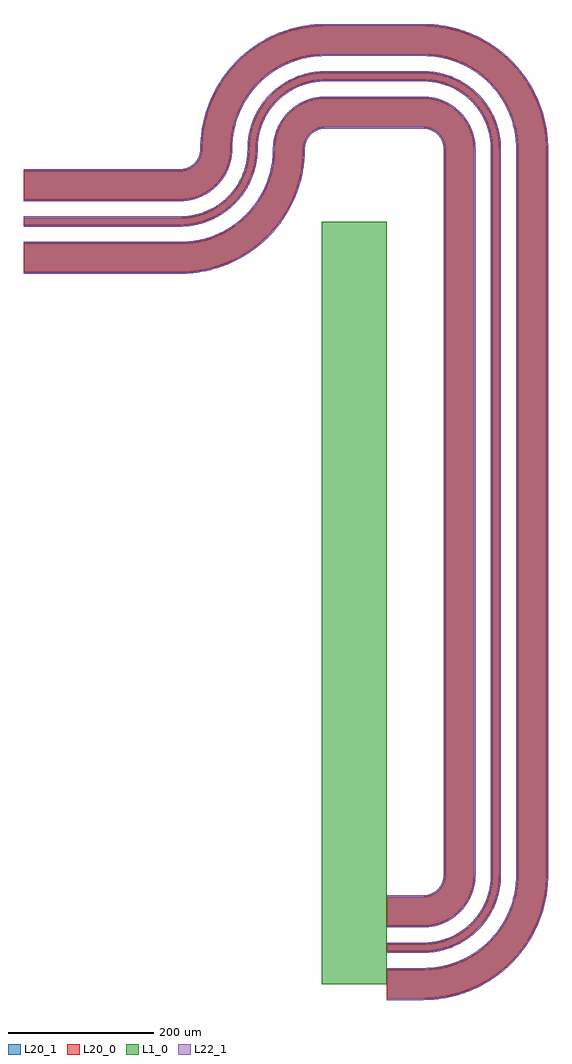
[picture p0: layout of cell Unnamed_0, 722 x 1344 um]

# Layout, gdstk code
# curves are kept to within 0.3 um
from math import pi, radians
import gdstk
lib = gdstk.Library(unit=1e-6, precision=1e-09)
def R(c, l, rs):  # rectangles x0, y0, x1, y1
    for r in rs: c.add(gdstk.rectangle(r[:2], r[2:], *l))
def P(c, l, *ps):  # polygons
    for p in ps: c.add(gdstk.Polygon(p, *l))
L1_0 = (1, 0)
L20_0 = (20, 0)
L20_1 = (20, 1)
L22_1 = (22, 1)

bend_circular_w40_r50_lm = lib.new_cell('bend_circular_W40_R50_LMETAL1_EM1_A90_AS1')
P(bend_circular_w40_r50_lm, L20_0, [(0,-20),(0,20),(5.788,20.564),(11.358,22.233),(16.502,24.946),(21.025,28.6),(25.054,33.498),(27.767,38.642),(29.436,44.212),(30,50),(70,50),(69.728,43.831),(68.685,36.495),(66.873,29.311),(64.789,23.498),(61.625,16.798),(58.459,11.496),(54.062,5.533),(49.932,0.941),(45.414,-3.269),(39.53,-7.77),(33.202,-11.625),(27.642,-14.311),(20.689,-16.873),(14.715,-18.436),(7.399,-19.608)])
P(bend_circular_w40_r50_lm, L20_1, [(0,-20.5),(0,20.5),(5.691,21.054),(11.169,22.696),(16.227,25.364),(20.675,28.957),(24.346,33.341),(27.103,38.351),(28.946,44.309),(29.5,50),(70.5,50),(70.226,43.787),(69.176,36.399),(67.708,30.355),(65.252,23.308),(62.646,17.662),(58.877,11.221),(54.448,5.215),(50.289,0.591),(44.785,-4.448),(39.812,-8.183),(33.439,-12.065),(27.839,-14.771),(20.837,-17.35),(13.601,-19.176),(6.213,-20.226)])
P(bend_circular_w40_r50_lm, L22_1, [(0,19.8),(0,22),(5.402,22.526),(10.601,24.084),(15.402,26.616),(19.624,30.027),(23.108,34.188),(25.725,38.943),(27.474,44.598),(28,50),(30.2,50),(29.633,44.174),(27.952,38.566),(25.221,33.388),(21.542,28.835),(16.612,24.779),(11.434,22.048),(5.826,20.367)],
  [(0,-22),(0,-19.8),(7.378,-19.409),(14.673,-18.24),(21.804,-16.307),(28.69,-13.631),(34.186,-10.855),(39.417,-7.605),(44.34,-3.907),(48.919,0.21),(53.116,4.715),(56.901,9.573),(60.242,14.745),(63.115,20.191),(65.912,27.03),(67.971,34.125),(69.268,41.398),(69.8,50),(72,50),(71.597,42.39),(70.647,36.109),(69.148,29.937),(66.64,22.741),(63.386,15.849),(60.129,10.396),(56.405,5.251),(51.359,-0.46),(45.738,-5.606),(40.659,-9.421),(34.151,-13.386),(28.431,-16.149),(22.491,-18.397),(15.135,-20.391),(7.61,-21.597)])

straight_w40000_l50000_l = lib.new_cell('straight_W40000_L50000_LMETAL1_EM1')
R(straight_w40000_l50000_l, L20_0, [(0,-20,50,20)])
R(straight_w40000_l50000_l, L20_1, [(0,-20.5,50,20.5)])
R(straight_w40000_l50000_l, L22_1, [(0,-22,50,-19.8), (0,19.8,50,22)])

straight_w40000_l1000000 = lib.new_cell('straight_W40000_L1000000_LMETAL1_EM1')
R(straight_w40000_l1000000, L20_0, [(0,-20,1000,20)])
R(straight_w40000_l1000000, L20_1, [(0,-20.5,1000,20.5)])
R(straight_w40000_l1000000, L22_1, [(0,-22,1000,-19.8), (0,19.8,1000,22)])

straight_w40000_l134999_ = lib.new_cell('straight_W40000_L134999_LMETAL1_EM1')
R(straight_w40000_l134999_, L20_0, [(0,-20,134.999,20)])
R(straight_w40000_l134999_, L20_1, [(0,-20.5,134.999,20.5)])
R(straight_w40000_l134999_, L22_1, [(0,-22,134.999,-19.8), (0,19.8,134.999,22)])

bend_circular_w40_r150_l = lib.new_cell('bend_circular_W40_R150_LMETAL1_EM1_A90_AS1')
P(bend_circular_w40_r150_l, L20_0, [(0,-20),(0,20),(11.457,20.506),(20.563,21.637),(31.796,23.948),(42.782,27.241),(53.434,31.489),(61.661,35.554),(69.58,40.188),(78.987,46.748),(89.458,55.675),(100.4,67.418),(109.812,80.42),(116.551,92.417),(122.759,107.218),(126.593,120.434),(129.272,136.259),(130,150),(170,150),(169.048,132.031),(166.806,117.203),(163.267,102.629),(157.345,85.637),(149.661,69.367),(141.972,56.491),(131.293,42.008),(121.264,30.857),(107.992,18.707),(96,9.701),(80.633,0.339),(67.129,-6.185),(50.245,-12.405),(32.797,-16.806),(17.969,-19.048)])
P(bend_circular_w40_r150_l, L20_1, [(0,-20.5),(0,20.5),(11.413,21.004),(20.484,22.13),(31.674,24.433),(42.617,27.713),(53.229,31.945),(61.423,35.994),(71.232,41.851),(78.683,47.145),(90.759,57.625),(100.014,67.736),(108.149,78.768),(116.103,92.638),(121.516,105.231),(126.106,120.547),(128.775,136.312),(129.5,150),(170.5,150),(169.837,134.973),(167.297,117.106),(162.883,99.607),(157.808,85.448),(151.505,71.791),(142.389,56.216),(133.57,44.031),(121.621,30.507),(108.309,18.321),(96.283,9.288),(80.87,-0.101),(64.552,-7.808),(50.393,-12.883),(32.894,-17.297),(15.027,-19.837)])
P(bend_circular_w40_r150_l, L22_1, [(0,19.8),(0,22),(13.529,22.717),(26.907,24.86),(37.831,27.718),(50.545,32.402),(60.712,37.314),(72.283,44.363),(81.311,51.144),(89.707,58.695),(97.405,66.957),(104.345,75.864),(111.597,87.309),(116.687,97.388),(121.595,110.016),(125.14,123.093),(127.283,136.471),(128,150),(130.2,150),(129.471,136.238),(127.754,124.881),(125.043,113.719),(120.508,100.706),(114.622,88.244),(108.734,78.383),(100.555,67.291),(92.874,58.751),(82.709,49.445),(73.525,42.547),(61.756,35.378),(49.294,29.492),(36.281,24.957),(25.119,22.246),(13.762,20.529)],
  [(0,-22),(0,-19.8),(11.978,-19.377),(20.925,-18.506),(29.813,-17.162),(38.618,-15.35),(53.041,-11.303),(67.05,-6.001),(80.538,0.515),(93.399,8.195),(105.534,16.979),(112.426,22.75),(119.003,28.878),(125.246,35.346),(131.138,42.135),(140.134,54.113),(145.013,61.663),(149.485,69.462),(156.001,82.95),(161.303,96.959),(165.35,111.382),(167.162,120.187),(168.506,129.075),(169.377,138.022),(169.8,150),(172,150),(171.331,134.841),(170.288,125.795),(168.769,116.817),(166.776,107.931),(164.316,99.164),(159.196,84.88),(152.838,71.103),(148.448,63.125),(143.642,55.391),(134.745,43.099),(128.899,36.118),(122.691,29.456),(111.59,19.112),(104.506,13.389),(97.13,8.05),(89.481,3.108),(81.582,-1.421),(73.454,-5.527),(65.12,-9.196),(50.836,-14.316),(42.069,-16.776),(33.183,-18.769),(24.205,-20.288),(15.159,-21.331)])

straight_w40000_l215001_ = lib.new_cell('straight_W40000_L215001_LMETAL1_EM1')
R(straight_w40000_l215001_, L20_0, [(0,-20,215.001,20)])
R(straight_w40000_l215001_, L20_1, [(0,-20.5,215.001,20.5)])
R(straight_w40000_l215001_, L22_1, [(0,-22,215.001,-19.8), (0,19.8,215.001,22)])

bend_circular_w10_r100_l = lib.new_cell('bend_circular_W10_R100_LMETAL1_EM1_A90_AS1')
P(bend_circular_w10_r100_l, L20_0, [(0,-5),(0,5),(10.041,5.532),(18.328,6.785),(28.078,9.244),(35.967,12.072),(45.06,16.366),(52.255,20.663),(59.044,25.577),(66.58,32.235),(72.293,38.366),(78.403,46.353),(82.826,53.471),(87.28,62.486),(90.756,71.922),(93.215,81.672),(94.468,89.959),(95,100),(105,100),(104.412,88.902),(103.027,79.743),(100.309,68.966),(97.184,60.247),(93.302,51.836),(87.688,42.244),(81.093,33.299),(74.899,26.412),(66.701,18.907),(59.294,13.344),(49.803,7.563),(39.753,2.816),(31.034,-0.309),(20.257,-3.027),(11.098,-4.412)])
P(bend_circular_w10_r100_l, L20_1, [(0,-5.5),(0,5.5),(9.989,6.029),(18.232,7.275),(26.333,9.243),(35.778,12.535),(44.823,16.806),(51.98,21.08),(60.031,27.017),(66.229,32.591),(72.983,39.969),(77.99,46.635),(83.194,55.177),(86.82,62.684),(90.278,72.07),(92.725,81.768),(93.971,90.011),(94.5,100),(105.5,100),(104.909,88.849),(103.518,79.646),(100.787,68.819),(97.646,60.057),(92.878,49.96),(88.106,41.969),(82.649,34.43),(75.255,26.061),(67.018,18.521),(59.577,12.932),(50.04,7.122),(41.66,3.074),(32.955,-0.221),(22.177,-3.143),(11.151,-4.909)])
P(bend_circular_w10_r100_l, L22_1, [(0,4.8),(0,7),(9.83,7.521),(19.55,9.078),(29.051,11.654),(38.226,15.219),(45.549,18.918),(52.518,23.248),(59.078,28.175),(65.178,33.661),(71.825,40.922),(76.752,47.482),(81.082,54.451),(84.781,61.774),(88.346,70.949),(90.922,80.45),(92.479,90.17),(93,100),(95.2,100),(94.83,91.61),(93.412,81.633),(90.947,71.863),(88.113,63.957),(83.81,54.845),(79.504,47.635),(74.58,40.832),(67.908,33.28),(61.764,27.555),(53.76,21.432),(45.155,16.19),(36.043,11.887),(28.137,9.053),(18.367,6.588),(8.39,5.17)],
  [(0,-7),(0,-4.8),(11.077,-4.213),(20.219,-2.831),(30.974,-0.118),(41.383,3.717),(49.708,7.739),(57.646,12.479),(66.574,19.062),(73.448,25.244),(79.751,32.008),(85.433,39.301),(90.45,47.067),(95.538,56.924),(99.556,67.263),(102.458,77.97),(104.213,88.923),(104.8,100),(107,100),(106.401,88.69),(104.99,79.357),(102.22,68.375),(99.035,59.489),(95.079,50.919),(89.359,41.144),(83.824,33.498),(76.325,25.01),(67.971,17.363),(58.856,10.641),(49.081,4.921),(40.511,0.965),(31.625,-2.22),(20.643,-4.99),(11.31,-6.401)])

straight_w10000_l50000_l = lib.new_cell('straight_W10000_L50000_LMETAL1_EM1')
R(straight_w10000_l50000_l, L20_0, [(0,-5,50,5)])
R(straight_w10000_l50000_l, L20_1, [(0,-5.5,50,5.5)])
R(straight_w10000_l50000_l, L22_1, [(0,-7,50,-4.8), (0,4.8,50,7)])

straight_w10000_l1000000 = lib.new_cell('straight_W10000_L1000000_LMETAL1_EM1')
R(straight_w10000_l1000000, L20_0, [(0,-5,1000,5)])
R(straight_w10000_l1000000, L20_1, [(0,-5.5,1000,5.5)])
R(straight_w10000_l1000000, L22_1, [(0,-7,1000,-4.8), (0,4.8,1000,7)])

straight_w10000_l134999_ = lib.new_cell('straight_W10000_L134999_LMETAL1_EM1')
R(straight_w10000_l134999_, L20_0, [(0,-5,134.999,5)])
R(straight_w10000_l134999_, L20_1, [(0,-5.5,134.999,5.5)])
R(straight_w10000_l134999_, L22_1, [(0,-7,134.999,-4.8), (0,4.8,134.999,7)])

straight_w10000_l215001_ = lib.new_cell('straight_W10000_L215001_LMETAL1_EM1')
R(straight_w10000_l215001_, L20_0, [(0,-5,215.001,5)])
R(straight_w10000_l215001_, L20_1, [(0,-5.5,215.001,5.5)])
R(straight_w10000_l215001_, L22_1, [(0,-7,215.001,-4.8), (0,4.8,215.001,7)])

unnamed_0 = lib.new_cell('Unnamed_0')
R(unnamed_0, L1_0, [(-90,-50,0,1000)])
unnamed_0.add(gdstk.Reference(bend_circular_w40_r50_lm, (100,100), rotation=3*pi/2, x_reflection=True))
unnamed_0.add(gdstk.Reference(straight_w40000_l50000_l, (50,50), rotation=pi, x_reflection=True))
unnamed_0.add(gdstk.Reference(bend_circular_w40_r50_lm, (50,1150), x_reflection=True))
unnamed_0.add(gdstk.Reference(straight_w40000_l1000000, (100,1100), rotation=3*pi/2, x_reflection=True))
unnamed_0.add(gdstk.Reference(bend_circular_w40_r50_lm, (-134.999,1100), rotation=pi/2, x_reflection=True))
unnamed_0.add(gdstk.Reference(straight_w40000_l134999_, (-84.999,1150), x_reflection=True))
unnamed_0.add(gdstk.Reference(bend_circular_w40_r150_l, (-284.999,950)))
unnamed_0.add(gdstk.Reference(straight_w40000_l215001_, (-284.999,950), rotation=pi))
unnamed_0.add(gdstk.Reference(bend_circular_w10_r100_l, (150,100), rotation=3*pi/2, x_reflection=True))
unnamed_0.add(gdstk.Reference(straight_w10000_l50000_l, (50,0), rotation=pi, x_reflection=True))
unnamed_0.add(gdstk.Reference(bend_circular_w10_r100_l, (50,1200), x_reflection=True))
unnamed_0.add(gdstk.Reference(straight_w10000_l1000000, (150,1100), rotation=3*pi/2, x_reflection=True))
unnamed_0.add(gdstk.Reference(bend_circular_w10_r100_l, (-184.999,1100), rotation=pi/2, x_reflection=True))
unnamed_0.add(gdstk.Reference(straight_w10000_l134999_, (-84.999,1200), x_reflection=True))
unnamed_0.add(gdstk.Reference(bend_circular_w10_r100_l, (-284.999,1000)))
unnamed_0.add(gdstk.Reference(straight_w10000_l215001_, (-284.999,1000), rotation=pi))
unnamed_0.add(gdstk.Reference(bend_circular_w40_r150_l, (200,100), rotation=3*pi/2, x_reflection=True))
unnamed_0.add(gdstk.Reference(straight_w40000_l50000_l, (50,-50), rotation=pi, x_reflection=True))
unnamed_0.add(gdstk.Reference(bend_circular_w40_r150_l, (50,1250), x_reflection=True))
unnamed_0.add(gdstk.Reference(straight_w40000_l1000000, (200,1100), rotation=3*pi/2, x_reflection=True))
unnamed_0.add(gdstk.Reference(bend_circular_w40_r150_l, (-234.999,1100), rotation=pi/2, x_reflection=True))
unnamed_0.add(gdstk.Reference(straight_w40000_l134999_, (-84.999,1250), x_reflection=True))
unnamed_0.add(gdstk.Reference(bend_circular_w40_r50_lm, (-284.999,1050)))
unnamed_0.add(gdstk.Reference(straight_w40000_l215001_, (-284.999,1050), rotation=pi))

lib.write_gds('Unnamed_0.gds')
